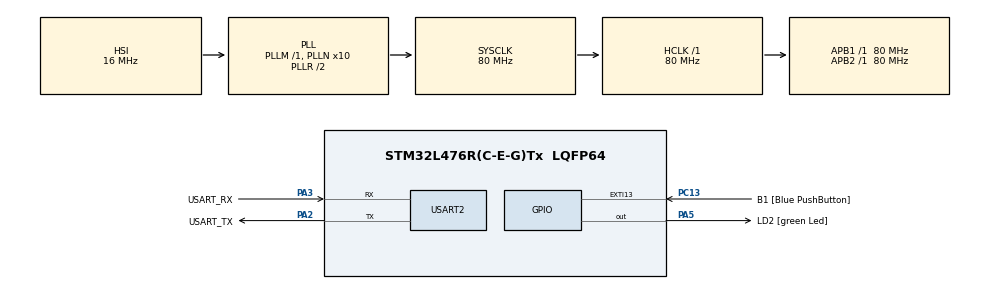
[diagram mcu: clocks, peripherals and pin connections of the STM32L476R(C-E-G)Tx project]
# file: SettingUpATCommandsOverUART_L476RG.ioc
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Mcu.Family=STM32L4
Mcu.Name=STM32L476R(C-E-G)Tx
Mcu.Package=LQFP64
NVIC.PriorityGroup=NVIC_PRIORITYGROUP_4
NVIC.USART2_IRQn=true\:0\:0\:false\:false\:true\:true\:true\:true
PA13\ (JTMS-SWDIO).GPIO_Label=TMS
PA13\ (JTMS-SWDIO).Mode=Serial_Wire
PA13\ (JTMS-SWDIO).Signal=SYS_JTMS-SWDIO
PA14\ (JTCK-SWCLK).GPIO_Label=TCK
PA14\ (JTCK-SWCLK).Mode=Serial_Wire
PA14\ (JTCK-SWCLK).Signal=SYS_JTCK-SWCLK
PA2.GPIO_Label=USART_TX
PA2.GPIO_Mode=GPIO_MODE_AF_PP
PA2.GPIO_PuPd=GPIO_NOPULL
PA2.GPIO_Speed=GPIO_SPEED_FREQ_VERY_HIGH
PA2.Mode=Asynchronous
PA2.Signal=USART2_TX
PA3.GPIO_Label=USART_RX
PA3.GPIO_Mode=GPIO_MODE_AF_PP
PA3.GPIO_PuPd=GPIO_NOPULL
PA3.GPIO_Speed=GPIO_SPEED_FREQ_VERY_HIGH
PA3.Mode=Asynchronous
PA3.Signal=USART2_RX
PA5.GPIO_Label=LD2 [green Led]
PA5.GPIO_ModeDefaultOutputPP=GPIO_MODE_OUTPUT_PP
PA5.GPIO_PuPd=GPIO_NOPULL
PA5.GPIO_Speed=GPIO_SPEED_FREQ_LOW
PA5.Signal=GPIO_Output
PB3\ (JTDO-TRACESWO).GPIO_Label=SWO
PB3\ (JTDO-TRACESWO).Signal=SYS_JTDO-SWO
PC13.GPIO_Label=B1 [Blue PushButton]
PC13.GPIO_ModeDefaultEXTI=GPIO_MODE_IT_FALLING
PC13.GPIO_PuPd=GPIO_NOPULL
PC13.Signal=GPXTI13
PC14-OSC32_IN\ (PC14).Mode=LSE-External-Oscillator
PC14-OSC32_IN\ (PC14).Signal=RCC_OSC32_IN
PC15-OSC32_OUT\ (PC15).Mode=LSE-External-Oscillator
PC15-OSC32_OUT\ (PC15).Signal=RCC_OSC32_OUT
PH0-OSC_IN\ (PH0).Signal=RCC_OSC_IN
PH1-OSC_OUT\ (PH1).Signal=RCC_OSC_OUT
ProjectManager.HeapSize=0x200
ProjectManager.StackSize=0x400
ProjectManager.TargetToolchain=STM32CubeIDE
RCC.ADCFreq_Value=64000000
RCC.AHBFreq_Value=80000000
RCC.APB1Freq_Value=80000000
RCC.APB1TimFreq_Value=80000000
RCC.APB2Freq_Value=80000000
RCC.APB2TimFreq_Value=80000000
RCC.CortexFreq_Value=80000000
RCC.HCLKFreq_Value=80000000
RCC.HSE_VALUE=8000000
RCC.HSI_VALUE=16000000
RCC.MSI_VALUE=4000000
RCC.PLLN=10
RCC.PLLSourceVirtual=RCC_PLLSOURCE_HSI
RCC.PREFETCH_ENABLE=1
RCC.SYSCLKFreq_VALUE=80000000
RCC.SYSCLKSource=RCC_SYSCLKSOURCE_PLLCLK
RCC.USBFreq_Value=64000000
RCC.VCOOutputFreq_Value=160000000
USART2.VirtualMode-Asynchronous=VM_ASYNC
board=NUCLEO-L476RG

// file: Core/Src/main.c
/* USER CODE BEGIN Header */
/**
  ******************************************************************************
  * @file           : main.c
  * @brief          : Main program body
  ******************************************************************************
  * @attention
  *
  * Copyright (c) 2023 STMicroelectronics.
  * All rights reserved.
  *
  * This software is licensed under terms that can be found in the LICENSE file
  * in the root directory of this software component.
  * If no LICENSE file comes with this software, it is provided AS-IS.
  *
  ******************************************************************************
  */
/* USER CODE END Header */
#include "main.h"

/* USER CODE BEGIN Includes */
#include <stdio.h>
#include <stdbool.h>
#include "ringbuffer.h"
#include "at.h"
/* USER CODE END Includes */

/* USER CODE BEGIN PD */
#define UART_RING_BUFFER_SIZE 512
/* USER CODE END PD */

UART_HandleTypeDef huart2;

/* USER CODE BEGIN PV */
volatile uint8_t rb_buffer[UART_RING_BUFFER_SIZE + 1];
Ringbuffer uart_rb = {
    .len = UART_RING_BUFFER_SIZE,
    .buffer = rb_buffer,
    .head = 0,
    .tail = 0
};

volatile bool newline = false;
/* USER CODE END PV */

void SystemClock_Config(void);
static void MX_GPIO_Init(void);
static void MX_USART2_UART_Init(void);

int main(void)
{

  /* MCU Configuration--------------------------------------------------------*/

  /* Reset of all peripherals, Initializes the Flash interface and the Systick. */
  HAL_Init();

  /* Configure the system clock */
  SystemClock_Config();

  /* Initialize all configured peripherals */
  MX_GPIO_Init();
  MX_USART2_UART_Init();
  /* USER CODE BEGIN 2 */
  at_command_init(&uart_rb, MX_USART2_UART_Init);
  /* USER CODE END 2 */

  /* Infinite loop */
  /* USER CODE BEGIN WHILE */
  printf("AT Command line demo.\r\nPrint AT+HELP for list of commands\r\n");
  HAL_Delay(15);
  while (1)
  {
    if (newline)
    {
//    uint8_t ch = '\0';
//    while ((ch = ringbuffer_read(&uart_rb)) != '\0')
//      putchar(ch);
      newline = false;
      at_command_process();
    }
    /* USER CODE END WHILE */

  }
}

void SystemClock_Config(void)
{
  RCC_OscInitTypeDef RCC_OscInitStruct = {0};
  RCC_ClkInitTypeDef RCC_ClkInitStruct = {0};

  /** Configure the main internal regulator output voltage
  */
  if (HAL_PWREx_ControlVoltageScaling(PWR_REGULATOR_VOLTAGE_SCALE1) != HAL_OK)
  {
    Error_Handler();
  }

  /** Initializes the RCC Oscillators according to the specified parameters
  * in the RCC_OscInitTypeDef structure.
  */
  RCC_OscInitStruct.OscillatorType = RCC_OSCILLATORTYPE_HSI;
  RCC_OscInitStruct.HSIState = RCC_HSI_ON;
  RCC_OscInitStruct.HSICalibrationValue = RCC_HSICALIBRATION_DEFAULT;
  RCC_OscInitStruct.PLL.PLLState = RCC_PLL_ON;
  RCC_OscInitStruct.PLL.PLLSource = RCC_PLLSOURCE_HSI;
  RCC_OscInitStruct.PLL.PLLM = 1;
  RCC_OscInitStruct.PLL.PLLN = 10;
  RCC_OscInitStruct.PLL.PLLP = RCC_PLLP_DIV7;
  RCC_OscInitStruct.PLL.PLLQ = RCC_PLLQ_DIV2;
  RCC_OscInitStruct.PLL.PLLR = RCC_PLLR_DIV2;
  if (HAL_RCC_OscConfig(&RCC_OscInitStruct) != HAL_OK)
  {
    Error_Handler();
  }

  /** Initializes the CPU, AHB and APB buses clocks
  */
  RCC_ClkInitStruct.ClockType = RCC_CLOCKTYPE_HCLK|RCC_CLOCKTYPE_SYSCLK
                              |RCC_CLOCKTYPE_PCLK1|RCC_CLOCKTYPE_PCLK2;
  RCC_ClkInitStruct.SYSCLKSource = RCC_SYSCLKSOURCE_PLLCLK;
  RCC_ClkInitStruct.AHBCLKDivider = RCC_SYSCLK_DIV1;
  RCC_ClkInitStruct.APB1CLKDivider = RCC_HCLK_DIV1;
  RCC_ClkInitStruct.APB2CLKDivider = RCC_HCLK_DIV1;

  if (HAL_RCC_ClockConfig(&RCC_ClkInitStruct, FLASH_LATENCY_4) != HAL_OK)
  {
    Error_Handler();
  }
}

static void MX_USART2_UART_Init(void)
{

  huart2.Instance = USART2;
  huart2.Init.BaudRate = 115200;
  huart2.Init.WordLength = UART_WORDLENGTH_8B;
  huart2.Init.StopBits = UART_STOPBITS_1;
  huart2.Init.Parity = UART_PARITY_NONE;
  huart2.Init.Mode = UART_MODE_TX_RX;
  huart2.Init.HwFlowCtl = UART_HWCONTROL_NONE;
  huart2.Init.OverSampling = UART_OVERSAMPLING_16;
  huart2.Init.OneBitSampling = UART_ONE_BIT_SAMPLE_DISABLE;
  huart2.AdvancedInit.AdvFeatureInit = UART_ADVFEATURE_NO_INIT;
  if (HAL_UART_Init(&huart2) != HAL_OK)
  {
    Error_Handler();
  }

}

static void MX_GPIO_Init(void)
{
  GPIO_InitTypeDef GPIO_InitStruct = {0};

  /* GPIO Ports Clock Enable */
  __HAL_RCC_GPIOC_CLK_ENABLE();
  __HAL_RCC_GPIOH_CLK_ENABLE();
  __HAL_RCC_GPIOA_CLK_ENABLE();
  __HAL_RCC_GPIOB_CLK_ENABLE();

  /*Configure GPIO pin Output Level */
  HAL_GPIO_WritePin(LD2_GPIO_Port, LD2_Pin, GPIO_PIN_RESET);

  /*Configure GPIO pin : B1_Pin */
  GPIO_InitStruct.Pin = B1_Pin;
  GPIO_InitStruct.Mode = GPIO_MODE_IT_FALLING;
  GPIO_InitStruct.Pull = GPIO_NOPULL;
  HAL_GPIO_Init(B1_GPIO_Port, &GPIO_InitStruct);

  /*Configure GPIO pin : LD2_Pin */
  GPIO_InitStruct.Pin = LD2_Pin;
  GPIO_InitStruct.Mode = GPIO_MODE_OUTPUT_PP;
  GPIO_InitStruct.Pull = GPIO_NOPULL;
  GPIO_InitStruct.Speed = GPIO_SPEED_FREQ_LOW;
  HAL_GPIO_Init(LD2_GPIO_Port, &GPIO_InitStruct);

}

/* USER CODE BEGIN 4 */
int _write(int handle, char* data, int size)
{
  int count = size;
  while (count--)
  {
    while (!(USART2->ISR & USART_ISR_TXE)) __NOP();
    USART2->TDR = *data++;
  }
  return size;
}

void USART2_IRQHandler(void)
{
  if (USART2->ISR & USART_ISR_RXNE) {
    /* Copy new data into the buffer. */
    uint8_t c = USART2->RDR;
    ringbuffer_write(uart_rb, c);
    if (c == '\n')
      newline = true;
  }
}
/* USER CODE END 4 */

void Error_Handler(void)
{
  __disable_irq();
  while (1)
  {
  }
}
